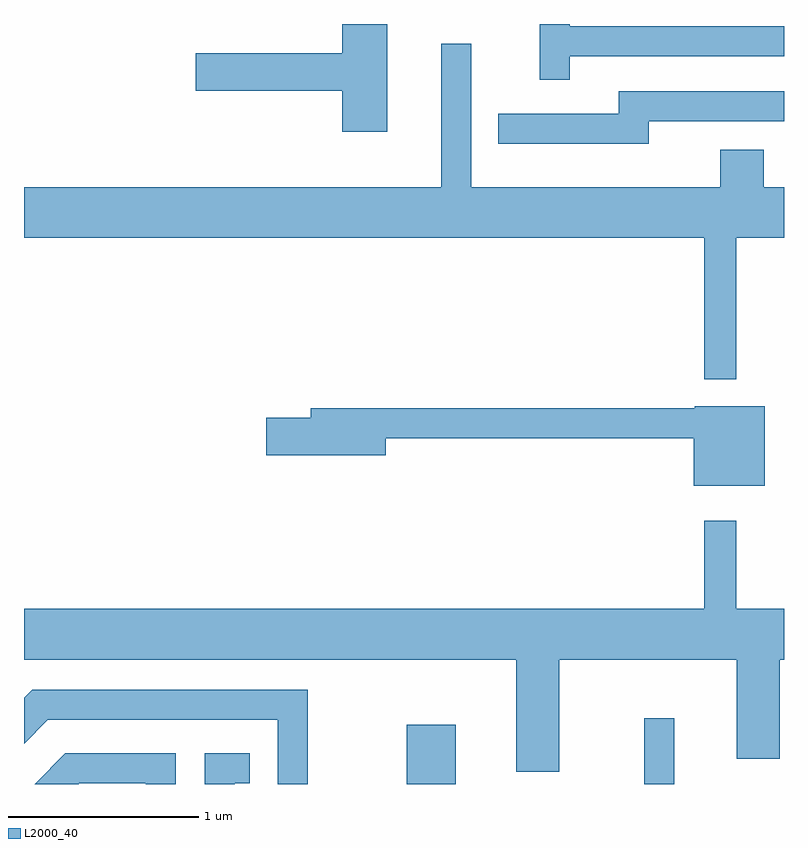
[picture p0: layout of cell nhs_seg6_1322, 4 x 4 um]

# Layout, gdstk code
import gdstk
lib = gdstk.Library(unit=1e-6, precision=1e-09)
def R(c, l, rs):  # rectangles x0, y0, x1, y1
    for r in rs: c.add(gdstk.rectangle(r[:2], r[2:], *l))
def P(c, l, *ps):  # polygons
    for p in ps: c.add(gdstk.Polygon(p, *l))
L2000_40 = (2000, 40)

nhs_seg6_1322 = lib.new_cell('nhs_seg6_1322')
R(nhs_seg6_1322, L2000_40, [(225.626,1658.162,225.884,1658.474), (226.876,1658.162,227.034,1658.508)])
P(nhs_seg6_1322, L2000_40, [(225.524,1662.162),(225.286,1662.162),(225.286,1662.009),(224.516,1662.009),(224.516,1661.811),(225.286,1661.811),(225.286,1661.596),(225.524,1661.596)],
  [(226.484,1661.991),(227.611,1661.991),(227.611,1662.149),(226.484,1662.149),(226.484,1662.162),(226.326,1662.162),(226.326,1661.868),(226.484,1661.868)],
  [(227.359,1661.036),(227.611,1661.036),(227.611,1661.304),(227.504,1661.304),(227.504,1661.499),(227.276,1661.499),(227.276,1661.304),(225.964,1661.304),(225.964,1662.058),(225.806,1662.058),(225.806,1661.304),(223.611,1661.304),(223.611,1661.036),(227.191,1661.036),(227.191,1660.293),(227.359,1660.293)],
  [(226.899,1661.651),(227.611,1661.651),(227.611,1661.809),(226.741,1661.809),(226.741,1661.689),(226.108,1661.689),(226.108,1661.531),(226.899,1661.531)],
  [(227.509,1660.149),(227.14,1660.149),(227.14,1660.139),(225.121,1660.139),(225.121,1660.089),(224.886,1660.089),(224.886,1659.891),(225.514,1659.891),(225.514,1659.981),(227.136,1659.981),(227.136,1659.731),(227.509,1659.731)],
  [(226.429,1658.816),(227.361,1658.816),(227.361,1658.296),(227.589,1658.296),(227.589,1658.816),(227.611,1658.816),(227.611,1659.084),(227.359,1659.084),(227.359,1659.548),(227.191,1659.548),(227.191,1659.084),(223.611,1659.084),(223.611,1658.816),(226.201,1658.816),(226.201,1658.226),(226.429,1658.226)],
  [(225.104,1658.659),(223.654,1658.659),(223.611,1658.616),(223.611,1658.375),(223.737,1658.501),(224.946,1658.501),(224.946,1658.162),(225.104,1658.162)],
  [(224.719,1658.166),(224.798,1658.166),(224.798,1658.324),(224.561,1658.324),(224.561,1658.162),(224.719,1658.162)],
  [(223.902,1658.166),(224.251,1658.166),(224.251,1658.162),(224.409,1658.162),(224.409,1658.324),(223.829,1658.324),(223.667,1658.162),(223.898,1658.162)])

lib.write_gds('nhs_seg6_1322.gds')
